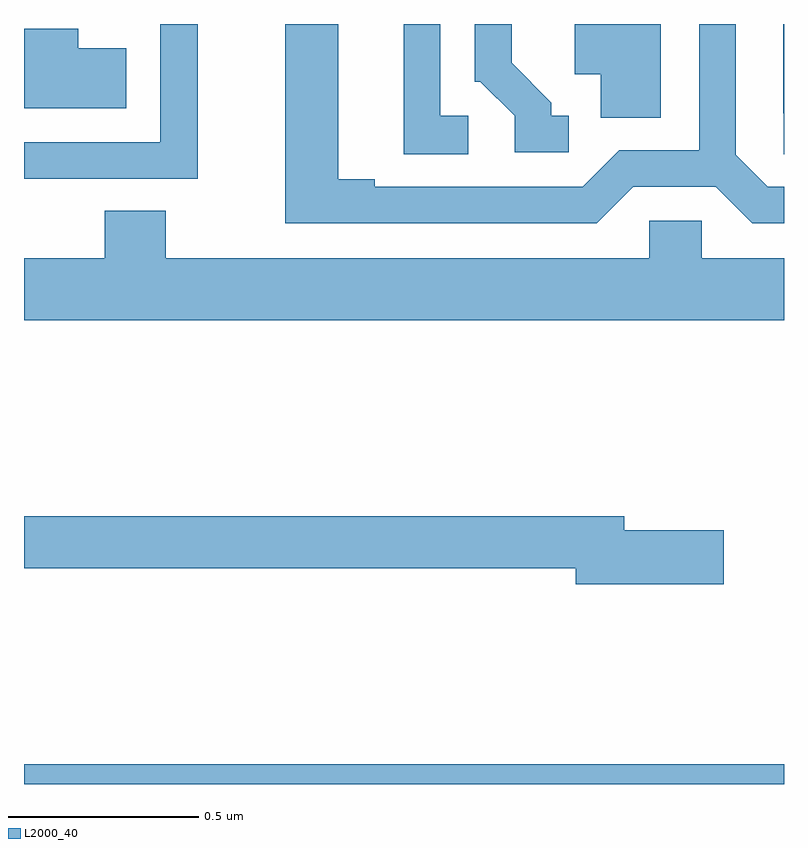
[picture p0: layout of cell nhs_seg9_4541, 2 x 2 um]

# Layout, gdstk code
import gdstk
lib = gdstk.Library(unit=1e-6, precision=1e-09)
def R(c, l, rs):  # rectangles x0, y0, x1, y1
    for r in rs: c.add(gdstk.rectangle(r[:2], r[2:], *l))
def P(c, l, *ps):  # polygons
    for p in ps: c.add(gdstk.Polygon(p, *l))
L2000_40 = (2000, 40)

nhs_seg9_4541 = lib.new_cell('nhs_seg9_4541')
R(nhs_seg9_4541, L2000_40, [(167,1228.5,169,1228.552)])
P(nhs_seg9_4541, L2000_40, [(168.676,1230.5),(168.449,1230.5),(168.449,1230.368),(168.518,1230.368),(168.518,1230.253),(168.676,1230.253)],
  [(168.603,1230.072),(168.821,1230.072),(168.917,1229.976),(169,1229.976),(169,1230.072),(168.957,1230.072),(168.873,1230.156),(168.873,1230.5),(168.777,1230.5),(168.777,1230.168),(168.567,1230.168),(168.471,1230.072),(167.923,1230.072),(167.923,1230.092),(167.827,1230.092),(167.827,1230.5),(167.687,1230.5),(167.687,1229.976),(168.507,1229.976)],
  [(169,1230.5),(168.998,1230.5),(168.998,1230.265),(168.999,1230.265),(168.999,1230.157),(169,1230.157)],
  [(168.433,1230.258),(168.388,1230.258),(168.388,1230.293),(168.283,1230.398),(168.283,1230.5),(168.186,1230.5),(168.186,1230.348),(168.201,1230.348),(168.291,1230.258),(168.291,1230.162),(168.433,1230.162)],
  [(167.457,1230.5),(167.358,1230.5),(167.358,1230.189),(167,1230.189),(167,1230.093),(167.457,1230.093)],
  [(168.169,1230.258),(168.096,1230.258),(168.096,1230.5),(167.999,1230.5),(167.999,1230.157),(168.169,1230.157)],
  [(167.269,1230.436),(167.143,1230.436),(167.143,1230.487),(167,1230.487),(167,1230.278),(167.269,1230.278)],
  [(169,1229.884),(168.783,1229.884),(168.783,1229.982),(168.645,1229.982),(168.645,1229.884),(167.373,1229.884),(167.373,1230.008),(167.213,1230.008),(167.213,1229.884),(167,1229.884),(167,1229.72),(169,1229.72)],
  [(168.841,1229.168),(168.58,1229.168),(168.58,1229.204),(167,1229.204),(167,1229.068),(168.452,1229.068),(168.452,1229.026),(168.841,1229.026)])

lib.write_gds('nhs_seg9_4541.gds')
